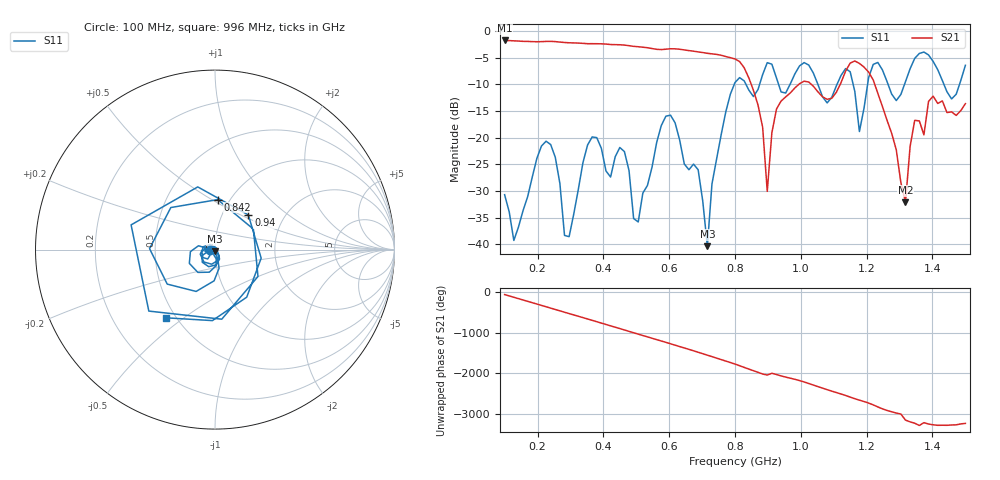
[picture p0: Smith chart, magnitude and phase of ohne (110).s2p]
! NanoVNA-App
! Date: 2025-09-25 17:39:08
! Start: 100MHz Stop: 1,5GHz Points: 101
! S-Parameter data: F S11 S21 S12 S22
# Hz S RI R 50
!  Frequency  S11_Real  S11_Imag  S21_Real  S21_Imag  S12_Real  S12_Imag  S22_Real  S22_Imag
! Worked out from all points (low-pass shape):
!   101 points, 100 MHz to 1.5 GHz, reference 50 ohm
!   highest |S21| = -1.80 dB at 100 MHz (marker M1); lowest = -32.1 dB at 1.318 GHz (marker M2)
!   |S21| within 3 dB of the highest: start of sweep to 771.1 MHz
!   lowest |S11| = -40.3 dB at 716 MHz (marker M3), VSWR 1.02, Z = 49.8 - j0.933 ohm
!   |S11| at or under -10 dB: start of sweep to 797.9 MHz; 833.1 MHz to 874.9 MHz (41.81 MHz wide, 4.9 % of centre); 1.052 GHz to 1.11 GHz (58.42 MHz wide, 5.4 % of centre)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
!   S12 and S22 are empty: the file has one direction only
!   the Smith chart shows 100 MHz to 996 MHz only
!   S11 on the Smith chart (normalised r, x): 100 MHz: 0.94, -0.01; 842 MHz: 0.88, +0.53; 940 MHz: 1.33, +0.55; 996 MHz: 0.44, -0.43
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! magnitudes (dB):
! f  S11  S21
! 100 MHz  -30.7  -1.8
! 128 MHz  -39.3  -1.9
! 226 MHz  -20.7  -2.0
! 296 MHz  -38.6  -2.2
! 338 MHz  -24.7  -2.3
! 464 MHz  -22.6  -2.7
! 506 MHz  -35.8  -3.0
! 576 MHz  -17.7  -3.5
! 688 MHz  -26.0  -3.9
! 716 MHz  -40.3  -4.2
! 800 MHz  -9.7  -5.3
! 842 MHz  -11.1  -8.8
! 898 MHz  -6.0  -30.1
! 940 MHz  -11.4  -13.2
! 996 MHz  -6.6  -9.9
! 1.038 GHz  -7.9  -10.4
! 1.178 GHz  -18.9  -6.1
! 1.22 GHz  -6.3  -9.2
! 1.276 GHz  -11.8  -19.2
! 1.318 GHz  -9.5  -32.1
! 1.346 GHz  -5.2  -16.8
! 1.5 GHz  -6.5  -13.6
